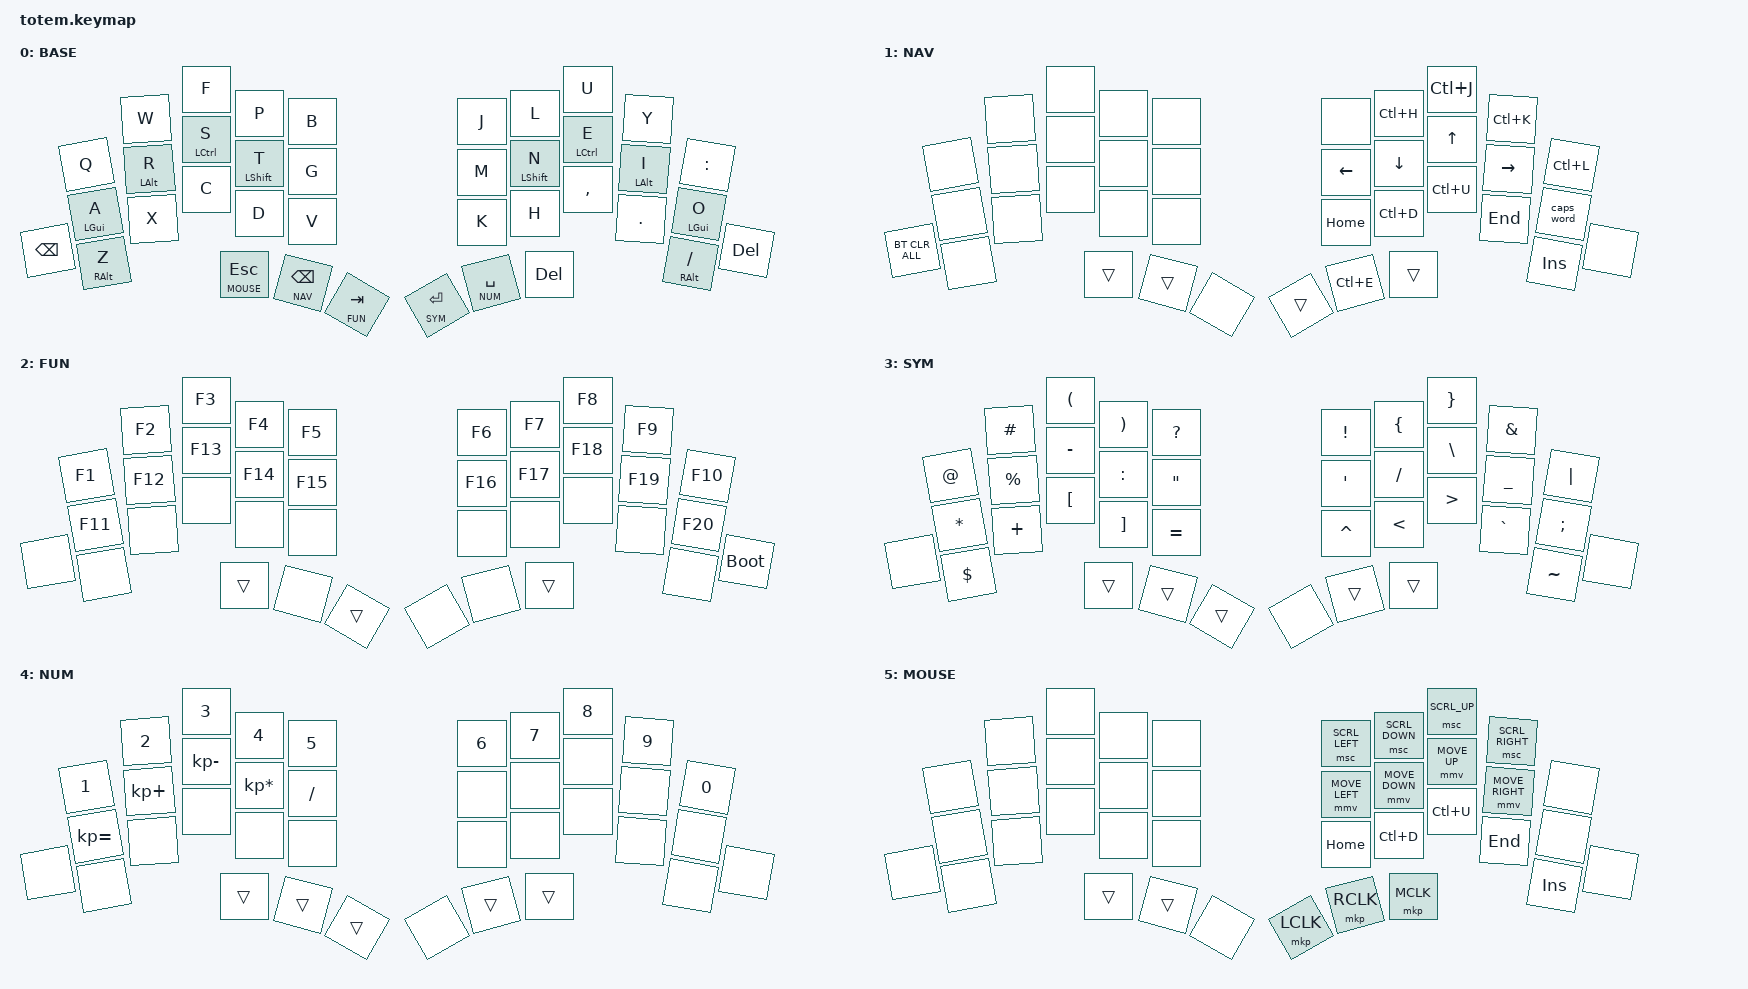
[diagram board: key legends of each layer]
//
//                                                        ▀▀▀▀▀     ▀▀▀▀▀          ▀▀█▀▀
//                                                        ▄▀▀▀▄  ▄  ▄▀▀▀▄  ▄  ▄▀▀▀▄  █  ▄▀▀▀▄
//                                                        █   █  █  █   █  █  █   █  █  █   █
//                                                         ▀▀▀   █   ▀▀▀   █   ▀▀▀   ▀   ▀▀▀
//                                                               █      ▄▄▄█▄▄▄    █   █  
//                                                               ▀      █  █  █     █▄█
//                                                             ▀▀▀▀▀    █  █  █      ▀
//                                                                      ▀  ▀  ▀
//
// ▄▄▄▄▄▄▄▄▄▄▄▄▄▄▄▄▄▄▄▄▄▄▄▄▄▄▄▄▄▄▄▄▄▄▄▄▄▄▄▄▄▄▄▄▄▄▄▄▄▄▄▄▄▄▄▄▄▄▄▄▄▄▄▄▄▄▄▄▄▄▄▄▄▄▄▄▄▄▄▄▄▄▄▄▄▄▄▄▄▄▄▄▄▄▄▄▄▄▄▄▄▄▄▄▄▄▄▄▄▄▄▄▄▄▄▄▄▄▄▄▄▄▄▄▄▄▄▄▄▄▄▄▄▄▄▄▄▄▄▄▄▄▄▄▄▄▄▄▄


#include <behaviors.dtsi>
#include <dt-bindings/zmk/keys.h>
#include <dt-bindings/zmk/bt.h>
#include <dt-bindings/zmk/outputs.h>
#include <dt-bindings/zmk/pointing.h>

#define BASE 0
#define NAV 1
#define FUN 2
#define SYM 3
#define NUM 4
#define MOUSE 5

&mt {
    tapping-term-ms = <200>;
    require-prior-idle-ms = <150>;
    global-quick-tap;
    flavor = "balanced";
};

&lt {
    tapping-term-ms = <200>;
    require-prior-idle-ms = <150>;
    global-quick-tap;
    flavor = "balanced";
};

/ {
    keymap {
        compatible = "zmk,keymap";
        // ▄▄▄▄▄▄▄▄▄▄▄▄▄▄▄▄▄▄▄▄▄▄▄▄▄▄▄▄▄▄▄▄▄▄▄▄▄▄▄▄▄▄▄▄▄▄▄▄▄▄▄▄▄▄▄▄▄▄▄▄▄▄▄▄▄▄▄▄▄▄▄▄▄▄▄▄▄▄▄▄▄▄▄▄▄▄▄▄▄▄▄▄▄▄▄▄▄▄▄▄▄▄▄▄▄▄▄▄▄▄▄▄▄▄▄▄▄▄▄▄▄▄▄▄▄▄▄▄▄▄▄▄▄▄▄▄▄▄▄▄▄▄▄▄▄▄▄▄▄

        base_layer {
            // ┏━━━━━━━━━━━━━━━━━━━━━━━━━━━━━━━━━━━━━━━┓
            label= "BASE"                              ;
            // ┗━━━━━━━━━━━━━━━━━━━━━━━━━━━━━━━━━━━━━━━┛
            //             ┏━━━━━━━━━━━┳━━━━━━━━━━━┳━━━━━━━━━━━┳━━━━━━━━━━━┳━━━━━━━━━━━┓   ┏━━━━━━━━━━━┳━━━━━━━━━━━┳━━━━━━━━━━━┳━━━━━━━━━━━┳━━━━━━━━━━━┓
            //             ┃     Q     ┃     W     ┃     F     ┃     P     ┃     B     ┃   ┃     J     ┃     L     ┃     U     ┃     Y     ┃     :     ┃
            //             ┣━━━━━━━━━━━╋━━━━━━━━━━━╋━━━━━━━━━━━╋━━━━━━━━━━━╋━━━━━━━━━━━┫   ┣━━━━━━━━━━━╋━━━━━━━━━━━╋━━━━━━━━━━━╋━━━━━━━━━━━╋━━━━━━━━━━━┫
            //             ┃     A     ┃     R     ┃     S     ┃     T     ┃     G     ┃   ┃     M     ┃     N     ┃     E     ┃     I     ┃     O     ┃
            // ┏━━━━━━━━━━━╋━━━━━━━━━━━╋━━━━━━━━━━━╋━━━━━━━━━━━╋━━━━━━━━━━━╋━━━━━━━━━━━┫   ┣━━━━━━━━━━━╋━━━━━━━━━━━╋━━━━━━━━━━━╋━━━━━━━━━━━╋━━━━━━━━━━━╋━━━━━━━━━━━┓
            // ┃     Q     ┃     Z     ┃     X     ┃     C     ┃     D     ┃     V     ┃   ┃     K     ┃     H     ┃     ,     ┃     .     ┃     /     ┃     \     ┃
            // ┗━━━━━━━━━━━┻━━━━━━━━━━━┻━━━━━━━━━━━╋━━━━━━━━━━━╋━━━━━━━━━━━╋━━━━━━━━━━━┫   ┣━━━━━━━━━━━╋━━━━━━━━━━━╋━━━━━━━━━━━╋━━━━━━━━━━━┻━━━━━━━━━━━┻━━━━━━━━━━━┛
            //                                     ┃    ESC    ┃    BSPC   ┃    TAB    ┃   ┃   ENTER   ┃    SPC    ┃    DEL    ┃
            //                                     ┗━━━━━━━━━━━┻━━━━━━━━━━━┻━━━━━━━━━━━┛   ┗━━━━━━━━━━━┻━━━━━━━━━━━┻━━━━━━━━━━━┛
            bindings = <
                // ╷           ╷           ╷           ╷           ╷           ╷           ╷   ╷           ╷           ╷           ╷           ╷           ╷           ╷

                &kp Q       &kp W       &kp F       &kp P       &kp B           &kp J       &kp L       &kp U       &kp Y       &kp COLON
                &mt LGUI A  &mt LALT R  &mt LCTRL S &mt LSHFT T &kp G           &kp M       &mt LSHFT N &mt LCTRL E &mt LALT I  &mt LGUI O
    &kp BSPC       &mt RALT Z  &kp X       &kp C       &kp D       &kp V           &kp K       &kp H       &kp COMMA   &kp DOT     &mt RALT FSLH    &kp DEL
                &lt MOUSE ESC   &lt NAV BSPC   &lt FUN TAB       &lt SYM RET   &lt NUM SPC   &kp DEL
            >;
        };

        // ▄▄▄▄▄▄▄▄▄▄▄▄▄▄▄▄▄▄▄▄▄▄▄▄▄▄▄▄▄▄▄▄▄▄▄▄▄▄▄▄▄▄▄▄▄▄▄▄▄▄▄▄▄▄▄▄▄▄▄▄▄▄▄▄▄▄▄▄▄▄▄▄▄▄▄▄▄▄▄▄▄▄▄▄▄▄▄▄▄▄▄▄▄▄▄▄▄▄▄▄▄▄▄▄▄▄▄▄▄▄▄▄▄▄▄▄▄▄▄▄▄▄▄▄▄▄▄▄▄▄▄▄▄▄▄▄▄▄▄▄▄▄▄▄▄▄▄▄▄


        nav_layer {
            // ┏━━━━━━━━━━━━━━━━━━━━━━━━━━━━━━━━━━━━━━━┓
            label= "NAV"                              ;
            // ┗━━━━━━━━━━━━━━━━━━━━━━━━━━━━━━━━━━━━━━━┛
            //             ┏━━━━━━━━━━━┳━━━━━━━━━━━┳━━━━━━━━━━━┳━━━━━━━━━━━┳━━━━━━━━━━━┓   ┏━━━━━━━━━━━┳━━━━━━━━━━━┳━━━━━━━━━━━┳━━━━━━━━━━━┳━━━━━━━━━━━┓
            //             ┃           ┃           ┃           ┃           ┃           ┃   ┃           ┃  LCTRL H  ┃  LCTRL J  ┃  LCTRL K  ┃  LCTRL L  ┃
            //             ┣━━━━━━━━━━━╋━━━━━━━━━━━╋━━━━━━━━━━━╋━━━━━━━━━━━╋━━━━━━━━━━━┫   ┣━━━━━━━━━━━╋━━━━━━━━━━━╋━━━━━━━━━━━╋━━━━━━━━━━━╋━━━━━━━━━━━┫
            //             ┃           ┃           ┃           ┃           ┃           ┃   ┃    Left   ┃   Down    ┃    Up     ┃   Right   ┃    CAPS   ┃
            // ┏━━━━━━━━━━━╋━━━━━━━━━━━╋━━━━━━━━━━━╋━━━━━━━━━━━╋━━━━━━━━━━━╋━━━━━━━━━━━┫   ┣━━━━━━━━━━━╋━━━━━━━━━━━╋━━━━━━━━━━━╋━━━━━━━━━━━╋━━━━━━━━━━━╋━━━━━━━━━━━┓
            // ┃ BT_CLR_ALL┃           ┃           ┃           ┃           ┃           ┃   ┃    Home   ┃  LCTRL D  ┃  LCTRL U  ┃    END    ┃    INS    ┃           ┃
            // ┗━━━━━━━━━━━┻━━━━━━━━━━━┻━━━━━━━━━━━╋━━━━━━━━━━━╋━━━━━━━━━━━╋━━━━━━━━━━━┫   ┣━━━━━━━━━━━╋━━━━━━━━━━━╋━━━━━━━━━━━╋━━━━━━━━━━━┻━━━━━━━━━━━┻━━━━━━━━━━━┛
            //                                     ┃           ┃           ┃           ┃   ┃           ┃  LCTRL E  ┃           ┃
            //                                     ┗━━━━━━━━━━━┻━━━━━━━━━━━┻━━━━━━━━━━━┛   ┗━━━━━━━━━━━┻━━━━━━━━━━━┻━━━━━━━━━━━┛
            bindings = <
                // ╷           ╷           ╷           ╷           ╷           ╷           ╷   ╷           ╷           ╷           ╷           ╷           ╷           ╷

                &none      &none      &none      &none      &none               &none       &kp LC(H)   &kp LC(J)   &kp LC(K)   &kp LC(L)
                &none      &none      &none      &none      &none               &kp LEFT    &kp DOWN    &kp UP      &kp RIGHT   &caps_word
                &bt BT_CLR_ALL  &none      &none      &none      &none      &none               &kp HOME    &kp LC(D)   &kp LC(U)   &kp END     &kp INS     &none      
                &trans      &trans      &none        &trans     &kp LC(E)   &trans      
            >;
        };

        // ▄▄▄▄▄▄▄▄▄▄▄▄▄▄▄▄▄▄▄▄▄▄▄▄▄▄▄▄▄▄▄▄▄▄▄▄▄▄▄▄▄▄▄▄▄▄▄▄▄▄▄▄▄▄▄▄▄▄▄▄▄▄▄▄▄▄▄▄▄▄▄▄▄▄▄▄▄▄▄▄▄▄▄▄▄▄▄▄▄▄▄▄▄▄▄▄▄▄▄▄▄▄▄▄▄▄▄▄▄▄▄▄▄▄▄▄▄▄▄▄▄▄▄▄▄▄▄▄▄▄▄▄▄▄▄▄▄▄▄▄▄▄▄▄▄▄▄▄▄

        adjust_layer {
            // ┏━━━━━━━━━━━━━━━━━━━━━━━━━━━━━━━━━━━━━━━┓
            label= "FUN"                               ;
            // ┗━━━━━━━━━━━━━━━━━━━━━━━━━━━━━━━━━━━━━━━┛
            //             ┏━━━━━━━━━━━┳━━━━━━━━━━━┳━━━━━━━━━━━┳━━━━━━━━━━━┳━━━━━━━━━━━┓   ┏━━━━━━━━━━━┳━━━━━━━━━━━┳━━━━━━━━━━━┳━━━━━━━━━━━┳━━━━━━━━━━━┓
            //             ┃     F1    ┃     F2    ┃     F3    ┃     F4    ┃     F5    ┃   ┃     F6    ┃     F7    ┃     F8    ┃     F9    ┃     F10   ┃
            //             ┣━━━━━━━━━━━╋━━━━━━━━━━━╋━━━━━━━━━━━╋━━━━━━━━━━━╋━━━━━━━━━━━┫   ┣━━━━━━━━━━━╋━━━━━━━━━━━╋━━━━━━━━━━━╋━━━━━━━━━━━╋━━━━━━━━━━━┫
            //             ┃     F11   ┃     F12   ┃     F13   ┃     F14   ┃     F15   ┃   ┃     F16   ┃     F17   ┃     F18   ┃     F19   ┃     F20   ┃
            // ┏━━━━━━━━━━━╋━━━━━━━━━━━╋━━━━━━━━━━━╋━━━━━━━━━━━╋━━━━━━━━━━━╋━━━━━━━━━━━┫   ┣━━━━━━━━━━━╋━━━━━━━━━━━╋━━━━━━━━━━━╋━━━━━━━━━━━╋━━━━━━━━━━━╋━━━━━━━━━━━┓
            // ┃           ┃           ┃           ┃           ┃           ┃           ┃   ┃           ┃           ┃           ┃           ┃           ┃BOOTLOADER ┃
            // ┗━━━━━━━━━━━┻━━━━━━━━━━━┻━━━━━━━━━━━╋━━━━━━━━━━━╋━━━━━━━━━━━╋━━━━━━━━━━━┫   ┣━━━━━━━━━━━╋━━━━━━━━━━━╋━━━━━━━━━━━╋━━━━━━━━━━━┻━━━━━━━━━━━┻━━━━━━━━━━━┛
            //                                     ┃           ┃           ┃           ┃   ┃           ┃           ┃           ┃
            //                                     ┗━━━━━━━━━━━┻━━━━━━━━━━━┻━━━━━━━━━━━┛   ┗━━━━━━━━━━━┻━━━━━━━━━━━┻━━━━━━━━━━━┛
            bindings = <
                // ╷           ╷           ╷           ╷           ╷           ╷           ╷   ╷           ╷           ╷           ╷           ╷           ╷           ╷

                &kp F1      &kp F2      &kp F3      &kp F4      &kp F5          &kp F6      &kp F7      &kp F8      &kp F9      &kp F10
                &kp F11     &kp F12     &kp F13     &kp F14     &kp F15         &kp F16     &kp F17     &kp F18     &kp F19     &kp F20
                &none      &none        &none       &none       &none       &none           &none       &none       &none       &none       &none     &bootloader         
                &trans      &none       &trans          &none       &none       &trans      
            >;
        };

        // ▄▄▄▄▄▄▄▄▄▄▄▄▄▄▄▄▄▄▄▄▄▄▄▄▄▄▄▄▄▄▄▄▄▄▄▄▄▄▄▄▄▄▄▄▄▄▄▄▄▄▄▄▄▄▄▄▄▄▄▄▄▄▄▄▄▄▄▄▄▄▄▄▄▄▄▄▄▄▄▄▄▄▄▄▄▄▄▄▄▄▄▄▄▄▄▄▄▄▄▄▄▄▄▄▄▄▄▄▄▄▄▄▄▄▄▄▄▄▄▄▄▄▄▄▄▄▄▄▄▄▄▄▄▄▄▄▄▄▄▄▄▄▄▄▄▄▄▄▄


        sim_layer {
            // ┏━━━━━━━━━━━━━━━━━━━━━━━━━━━━━━━━━━━━━━━┓
            label= "SYM"                               ;
            // ┗━━━━━━━━━━━━━━━━━━━━━━━━━━━━━━━━━━━━━━━┛
            //             ┏━━━━━━━━━━━┳━━━━━━━━━━━┳━━━━━━━━━━━┳━━━━━━━━━━━┳━━━━━━━━━━━┓   ┏━━━━━━━━━━━┳━━━━━━━━━━━┳━━━━━━━━━━━┳━━━━━━━━━━━┳━━━━━━━━━━━┓
            //             ┃     @     ┃     #     ┃     (     ┃     )     ┃     ?     ┃   ┃     !     ┃     {     ┃     }     ┃     &     ┃     |     ┃
            //             ┣━━━━━━━━━━━╋━━━━━━━━━━━╋━━━━━━━━━━━╋━━━━━━━━━━━╋━━━━━━━━━━━┫   ┣━━━━━━━━━━━╋━━━━━━━━━━━╋━━━━━━━━━━━╋━━━━━━━━━━━╋━━━━━━━━━━━┫
            //             ┃     *     ┃     %     ┃     -     ┃     :     ┃     "     ┃   ┃     '     ┃     /     ┃     \     ┃     _     ┃     ;     ┃
            // ┏━━━━━━━━━━━╋━━━━━━━━━━━╋━━━━━━━━━━━╋━━━━━━━━━━━╋━━━━━━━━━━━╋━━━━━━━━━━━┫   ┣━━━━━━━━━━━╋━━━━━━━━━━━╋━━━━━━━━━━━╋━━━━━━━━━━━╋━━━━━━━━━━━╋━━━━━━━━━━━┓
            // ┃           ┃     $     ┃     +     ┃     [     ┃     ]     ┃     =     ┃   ┃     ^     ┃     >     ┃     >     ┃     `     ┃     ~     ┃           ┃
            // ┗━━━━━━━━━━━┻━━━━━━━━━━━┻━━━━━━━━━━━╋━━━━━━━━━━━╋━━━━━━━━━━━╋━━━━━━━━━━━┫   ┣━━━━━━━━━━━╋━━━━━━━━━━━╋━━━━━━━━━━━╋━━━━━━━━━━━┻━━━━━━━━━━━┻━━━━━━━━━━━┛
            //                                     ┃           ┃           ┃           ┃   ┃           ┃           ┃           ┃
            //                                     ┗━━━━━━━━━━━┻━━━━━━━━━━━┻━━━━━━━━━━━┛   ┗━━━━━━━━━━━┻━━━━━━━━━━━┻━━━━━━━━━━━┛
            bindings = <
                // ╷           ╷           ╷           ╷           ╷           ╷           ╷   ╷           ╷           ╷           ╷           ╷           ╷           ╷

                &kp AT      &kp HASH    &kp LPAR    &kp RPAR    &kp QMARK       &kp EXCL    &kp LBRC    &kp RBRC    &kp AMPS    &kp PIPE       
                &kp ASTRK   &kp PRCNT   &kp MINUS   &kp COLON   &kp DQT         &kp SQT     &kp FSLH    &kp BSLH    &kp UNDER   &kp SEMI
                &none       &kp DLLR    &kp PLUS    &kp LBKT    &kp RBKT    &kp EQUAL       &kp CARET   &kp LT      &kp GT      &kp GRAVE   &kp TILDE   &none
                &trans      &trans      &trans          &none       &trans      &trans      
            >;
        };

        // ▄▄▄▄▄▄▄▄▄▄▄▄▄▄▄▄▄▄▄▄▄▄▄▄▄▄▄▄▄▄▄▄▄▄▄▄▄▄▄▄▄▄▄▄▄▄▄▄▄▄▄▄▄▄▄▄▄▄▄▄▄▄▄▄▄▄▄▄▄▄▄▄▄▄▄▄▄▄▄▄▄▄▄▄▄▄▄▄▄▄▄▄▄▄▄▄▄▄▄▄▄▄▄▄▄▄▄▄▄▄▄▄▄▄▄▄▄▄▄▄▄▄▄▄▄▄▄▄▄▄▄▄▄▄▄▄▄▄▄▄▄▄▄▄▄▄▄▄▄



        tvp1_layer {
            // ┏━━━━━━━━━━━━━━━━━━━━━━━━━━━━━━━━━━━━━━━┓
            label= "NUM"                             ;
            // ┗━━━━━━━━━━━━━━━━━━━━━━━━━━━━━━━━━━━━━━━┛
            //             ┏━━━━━━━━━━━┳━━━━━━━━━━━┳━━━━━━━━━━━┳━━━━━━━━━━━┳━━━━━━━━━━━┓   ┏━━━━━━━━━━━┳━━━━━━━━━━━┳━━━━━━━━━━━┳━━━━━━━━━━━┳━━━━━━━━━━━┓
            //             ┃      1    ┃    2      ┃     3     ┃     4     ┃     5     ┃   ┃     6     ┃     7     ┃     8     ┃     9     ┃     0     ┃
            //             ┣━━━━━━━━━━━╋━━━━━━━━━━━╋━━━━━━━━━━━╋━━━━━━━━━━━╋━━━━━━━━━━━┫   ┣━━━━━━━━━━━╋━━━━━━━━━━━╋━━━━━━━━━━━╋━━━━━━━━━━━╋━━━━━━━━━━━┫
            //             ┃     =     ┃    +      ┃     -     ┃     *     ┃     /     ┃   ┃           ┃           ┃           ┃           ┃           ┃
            // ┏━━━━━━━━━━━╋━━━━━━━━━━━╋━━━━━━━━━━━╋━━━━━━━━━━━╋━━━━━━━━━━━╋━━━━━━━━━━━┫   ┣━━━━━━━━━━━╋━━━━━━━━━━━╋━━━━━━━━━━━╋━━━━━━━━━━━╋━━━━━━━━━━━╋━━━━━━━━━━━┓
            // ┃           ┃           ┃           ┃           ┃           ┃           ┃   ┃           ┃           ┃           ┃           ┃           ┃           ┃
            // ┗━━━━━━━━━━━┻━━━━━━━━━━━┻━━━━━━━━━━━╋━━━━━━━━━━━╋━━━━━━━━━━━╋━━━━━━━━━━━┫   ┣━━━━━━━━━━━╋━━━━━━━━━━━╋━━━━━━━━━━━╋━━━━━━━━━━━┻━━━━━━━━━━━┻━━━━━━━━━━━┛
            //                                     ┃           ┃           ┃           ┃   ┃           ┃           ┃           ┃
            //                                     ┗━━━━━━━━━━━┻━━━━━━━━━━━┻━━━━━━━━━━━┛   ┗━━━━━━━━━━━┻━━━━━━━━━━━┻━━━━━━━━━━━┛
            bindings = <
                // ╷           ╷           ╷           ╷           ╷           ╷           ╷   ╷           ╷           ╷           ╷           ╷           ╷           ╷

                &kp N1       &kp N2      &kp N3       &kp N4            &kp N5          &kp N6      &kp N7      &kp N8      &kp N9      &kp N0
                &kp KP_EQUAL &kp KP_PLUS &kp KP_MINUS &kp KP_ASTERISK   &kp SLASH       &none       &none       &none       &none       &none
                &none       &none        &none       &none        &none             &none           &none       &none       &none       &none       &none       &none        
                &trans      &trans  &trans      &none       &trans       &trans
            >;
        };
        // ▄▄▄▄▄▄▄▄▄▄▄▄▄▄▄▄▄▄▄▄▄▄▄▄▄▄▄▄▄▄▄▄▄▄▄▄▄▄▄▄▄▄▄▄▄▄▄▄▄▄▄▄▄▄▄▄▄▄▄▄▄▄▄▄▄▄▄▄▄▄▄▄▄▄▄▄▄▄▄▄▄▄▄▄▄▄▄▄▄▄▄▄▄▄▄▄▄▄▄▄▄▄▄▄▄▄▄▄▄▄▄▄▄▄▄▄▄▄▄▄▄▄▄▄▄▄▄▄▄▄▄▄▄▄▄▄▄▄▄▄▄▄▄▄▄▄▄▄▄


        mouse_layer {
            // ┏━━━━━━━━━━━━━━━━━━━━━━━━━━━━━━━━━━━━━━━┓
            label= "MOUSE"                              ;
            // ┗━━━━━━━━━━━━━━━━━━━━━━━━━━━━━━━━━━━━━━━┛
            //             ┏━━━━━━━━━━━┳━━━━━━━━━━━┳━━━━━━━━━━━┳━━━━━━━━━━━┳━━━━━━━━━━━┓   ┏━━━━━━━━━━━┳━━━━━━━━━━━┳━━━━━━━━━━━┳━━━━━━━━━━━┳━━━━━━━━━━━┓
            //             ┃           ┃           ┃           ┃           ┃           ┃   ┃   SLeft   ┃   SDown   ┃    SUp    ┃   SRight  ┃           ┃
            //             ┣━━━━━━━━━━━╋━━━━━━━━━━━╋━━━━━━━━━━━╋━━━━━━━━━━━╋━━━━━━━━━━━┫   ┣━━━━━━━━━━━╋━━━━━━━━━━━╋━━━━━━━━━━━╋━━━━━━━━━━━╋━━━━━━━━━━━┫
            //             ┃           ┃           ┃           ┃           ┃           ┃   ┃    Left   ┃   Down    ┃    Up     ┃   Right   ┃           ┃
            // ┏━━━━━━━━━━━╋━━━━━━━━━━━╋━━━━━━━━━━━╋━━━━━━━━━━━╋━━━━━━━━━━━╋━━━━━━━━━━━┫   ┣━━━━━━━━━━━╋━━━━━━━━━━━╋━━━━━━━━━━━╋━━━━━━━━━━━╋━━━━━━━━━━━╋━━━━━━━━━━━┓
            // ┃           ┃           ┃           ┃           ┃           ┃           ┃   ┃           ┃           ┃           ┃           ┃           ┃           ┃
            // ┗━━━━━━━━━━━┻━━━━━━━━━━━┻━━━━━━━━━━━╋━━━━━━━━━━━╋━━━━━━━━━━━╋━━━━━━━━━━━┫   ┣━━━━━━━━━━━╋━━━━━━━━━━━╋━━━━━━━━━━━╋━━━━━━━━━━━┻━━━━━━━━━━━┻━━━━━━━━━━━┛
            //                                     ┃           ┃           ┃           ┃   ┃    LCLK   ┃   RCLK    ┃    MCLK   ┃
            //                                     ┗━━━━━━━━━━━┻━━━━━━━━━━━┻━━━━━━━━━━━┛   ┗━━━━━━━━━━━┻━━━━━━━━━━━┻━━━━━━━━━━━┛
            bindings = <
                // ╷           ╷           ╷           ╷           ╷           ╷           ╷   ╷           ╷           ╷           ╷           ╷           ╷           ╷

                &none      &none      &none      &none      &none               &msc SCRL_LEFT       &msc SCRL_DOWN       &msc SCRL_UP       &msc SCRL_RIGHT       &none
                &none      &none      &none      &none      &none               &mmv MOVE_LEFT    &mmv MOVE_DOWN    &mmv MOVE_UP      &mmv MOVE_RIGHT   &none
                &none       &none      &none      &none      &none      &none               &kp HOME    &kp LC(D)   &kp LC(U)   &kp END     &kp INS     &none      
                &trans      &trans      &none        &mkp LCLK     &mkp RCLK   &mkp MCLK
            >;
        };
    };
};
